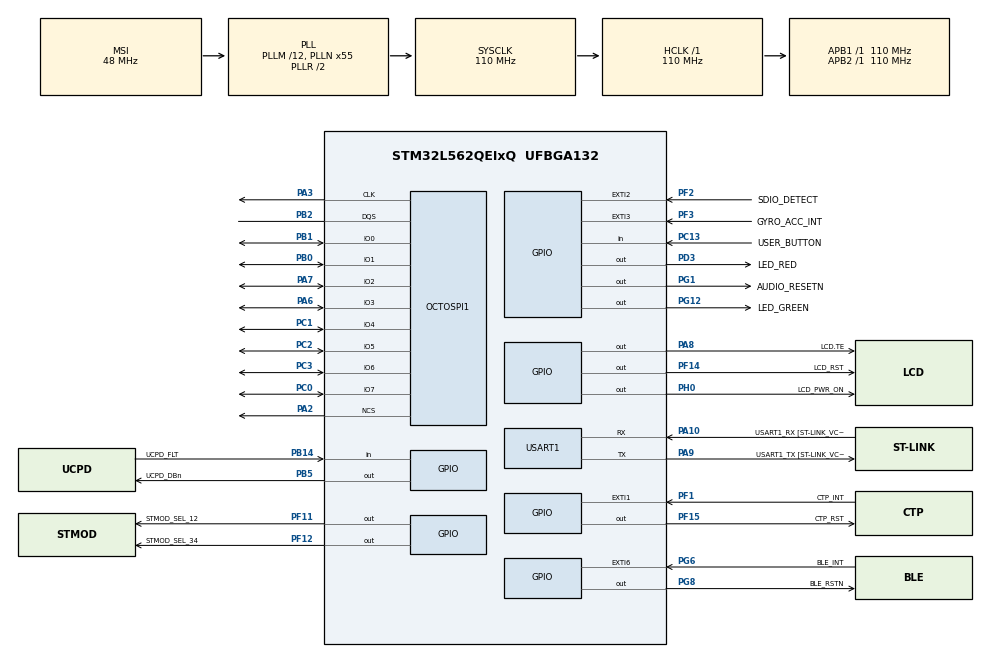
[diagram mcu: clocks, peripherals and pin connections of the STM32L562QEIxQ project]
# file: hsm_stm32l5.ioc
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Mcu.Family=STM32L5
Mcu.Name=STM32L562QEIxQ
Mcu.Package=UFBGA132
Mcu.TrustZone=disable
NVIC.PriorityGroup=NVIC_PRIORITYGROUP_3
PA10.GPIO_Label=USART1_RX [ST-LINK_VCP_TX]
PA10.Mode=Asynchronous
PA10.Signal=USART1_RX
PA11.Signal=USB_DM
PA12.Signal=USB_DP
PA13\ (JTMS/SWDIO).Mode=Trace_Asynchronous_SW
PA13\ (JTMS/SWDIO).Signal=DEBUG_JTMS-SWDIO
PA14\ (JTCK/SWCLK).Mode=Trace_Asynchronous_SW
PA14\ (JTCK/SWCLK).Signal=DEBUG_JTCK-SWCLK
PA15\ (JTDI).Signal=UCPD1_CC1
PA2.Mode=octods_mode
PA2.Signal=OCTOSPI1_NCS
PA3.Mode=octods_mode
PA3.Signal=OCTOSPI1_CLK
PA4.GPIO_Label=VBUS_SENSE
PA4.Signal=ADCx_IN9
PA6.Mode=octods_mode
PA6.Signal=OCTOSPI1_IO3
PA7.Mode=octods_mode
PA7.Signal=OCTOSPI1_IO2
PA8.GPIO_Label=LCD.TE
PA8.Signal=GPIO_Output
PA9.GPIO_Label=USART1_TX [ST-LINK_VCP_RX]
PA9.Mode=Asynchronous
PA9.Signal=USART1_TX
PB0.Mode=octods_mode
PB0.Signal=OCTOSPI1_IO1
PB1.Mode=octods_mode
PB1.Signal=OCTOSPI1_IO0
PB10.Signal=LPUART1_RX
PB11.Signal=LPUART1_TX
PB12.Signal=S_DATAIN1DFSDM1
PB14.GPIO_Label=UCPD_FLT
PB14.Signal=GPIO_Input
PB15.Signal=UCPD1_CC2
PB2.Mode=octods_mode
PB2.Signal=OCTOSPI1_DQS
PB3\ (JTDO/TRACESWO).Mode=Trace_Asynchronous_SW
PB3\ (JTDO/TRACESWO).Signal=DEBUG_JTDO-SWO
PB5.GPIO_Label=UCPD_DBn
PB5.Signal=GPIO_Output
PB6.GPIO_Pu=GPIO_PULLUP
PB6.Signal=I2C1_SCL
PB7.GPIO_Pu=GPIO_PULLUP
PB7.Signal=I2C1_SDA
PC0.Mode=octods_mode
PC0.Signal=OCTOSPI1_IO7
PC1.Mode=octods_mode
PC1.Signal=OCTOSPI1_IO4
PC10.Signal=SDMMC1_D2
PC11.Signal=SDMMC1_D3
PC12.Signal=SDMMC1_CK
PC13.GPIO_Label=USER_BUTTON
PC13.Signal=GPIO_Input
PC14-OSC32_IN\ (PC14).Mode=LSE-External-Oscillator
PC14-OSC32_IN\ (PC14).Signal=RCC_OSC32_IN
PC15-OSC32_OUT\ (PC15).Mode=LSE-External-Oscillator
PC15-OSC32_OUT\ (PC15).Signal=RCC_OSC32_OUT
PC2.Mode=octods_mode
PC2.Signal=OCTOSPI1_IO5
PC3.Mode=octods_mode
PC3.Signal=OCTOSPI1_IO6
PC8.Signal=SDMMC1_D0
PC9.Signal=SDMMC1_D1
PD0.Signal=FMC_D2_DA2
PD1.Signal=FMC_D3_DA3
PD10.Signal=FMC_D15_DA15
PD14.Signal=FMC_D0_DA0
PD15.Signal=FMC_D1_DA1
PD2.Signal=SDMMC1_CMD
PD3.GPIO_Label=LED_RED
PD3.Signal=GPIO_Output
PD4.Signal=FMC_NOE
PD5.Signal=FMC_NWE
PD7.Signal=FMC_NE1
PD8.Signal=FMC_D13_DA13
PD9.Signal=FMC_D14_DA14
PE1.GPIO_Label=LCD_BL_PWM
PE1.Signal=S_TIM17_CH1
PE10.Signal=FMC_D7_DA7
PE11.Signal=FMC_D8_DA8
PE12.Signal=FMC_D9_DA9
PE13.Signal=FMC_D10_DA10
PE14.Signal=FMC_D11_DA11
PE15.Signal=FMC_D12_DA12
PE2.Signal=SAI1_MCLK_A
PE3.Signal=SAI1_SD_B
PE4.Signal=SAI1_FS_A
PE5.Signal=SAI1_SCK_A
PE6.Signal=SAI1_SD_A
PE7.Signal=FMC_D4_DA4
PE8.Signal=FMC_D5_DA5
PE9.Signal=FMC_D6_DA6
PF0.Signal=FMC_A0
PF1.GPIO_Label=CTP_INT
PF1.Signal=GPXTI1
PF11.GPIO_Label=STMOD_SEL_12
PF11.Signal=GPIO_Output
PF12.GPIO_Label=STMOD_SEL_34
PF12.Signal=GPIO_Output
PF14.GPIO_Label=LCD_RST
PF14.Signal=GPIO_Output
PF15.GPIO_Label=CTP_RST
PF15.Signal=GPIO_Output
PF2.GPIO_Label=SDIO_DETECT
PF2.Signal=GPXTI2
PF3.GPIO_Label=GYRO_ACC_INT
PF3.Signal=GPXTI3
PG1.GPIO_Label=AUDIO_RESETN
PG1.Signal=GPIO_Output
PG12.GPIO_Label=LED_GREEN
PG12.Signal=GPIO_Output
PG2.Signal=SPI1_SCK
PG3.Signal=SPI1_MISO
PG4.Signal=SPI1_MOSI
PG5.GPIO_Label=BLE_CSN
PG5.Signal=SPI1_NSS
PG6.GPIO_Label=BLE_INT
PG6.Signal=GPXTI6
PG7.Signal=S_CKOUTDFSDM1
PG8.GPIO_Label=BLE_RSTN
PG8.Signal=GPIO_Output
PH0-OSC_IN\ (PH0).GPIO_Label=LCD_PWR_ON
PH0-OSC_IN\ (PH0).Signal=GPIO_Output
ProjectManager.HeapSize=0x200
ProjectManager.StackSize=0x400
ProjectManager.TargetToolchain=STM32CubeIDE
RCC.ADCFreq_Value=96000000
RCC.AHBFreq_Value=110000000
RCC.APB1Freq_Value=110000000
RCC.APB1TimFreq_Value=110000000
RCC.APB2Freq_Value=110000000
RCC.APB2TimFreq_Value=110000000
RCC.CK48CLockSelection=RCC_USBCLKSOURCE_MSI
RCC.CortexFreq_Value=110000000
RCC.HCLKFreq_Value=110000000
RCC.HSE_VALUE=8000000
RCC.HSI48_VALUE=48000000
RCC.HSI_VALUE=16000000
RCC.MSIClockRange=RCC_MSIRANGE_11
RCC.MSI_VALUE=48000000
RCC.PLLM=12
RCC.PLLN=55
RCC.PLLSAI1M=4
RCC.PLLSAI1N=48
RCC.PLLSAI1P=RCC_PLLP_DIV17
RCC.PLLSAI1Source=RCC_PLLSAI1SOURCE_HSI
RCC.SDMMCClockSelection=RCC_SDIOCLKSOURCE_CLK48
RCC.SYSCLKFreq_VALUE=110000000
RCC.SYSCLKSource=RCC_SYSCLKSOURCE_PLLCLK
RCC.USBFreq_Value=48000000
RCC.VCOOutputFreq_Value=220000000
SH.ADCx_IN9.0=ADC1_IN9
SH.FMC_A0.0=FMC_A0
SH.FMC_D0_DA0.0=FMC_DA0
SH.FMC_D0_DA0.1=FMC_D0
SH.FMC_D10_DA10.0=FMC_DA10
SH.FMC_D10_DA10.1=FMC_D10
SH.FMC_D11_DA11.0=FMC_DA11
SH.FMC_D11_DA11.1=FMC_D11
SH.FMC_D12_DA12.0=FMC_DA12
SH.FMC_D12_DA12.1=FMC_D12
SH.FMC_D13_DA13.0=FMC_DA13
SH.FMC_D13_DA13.1=FMC_D13
SH.FMC_D14_DA14.0=FMC_DA14
SH.FMC_D14_DA14.1=FMC_D14
SH.FMC_D15_DA15.0=FMC_DA15
SH.FMC_D15_DA15.1=FMC_D15
SH.FMC_D1_DA1.0=FMC_DA1
SH.FMC_D1_DA1.1=FMC_D1
SH.FMC_D2_DA2.0=FMC_DA2
SH.FMC_D2_DA2.1=FMC_D2
SH.FMC_D3_DA3.0=FMC_DA3
SH.FMC_D3_DA3.1=FMC_D3
SH.FMC_D4_DA4.0=FMC_DA4
SH.FMC_D4_DA4.1=FMC_D4
SH.FMC_D5_DA5.0=FMC_DA5
SH.FMC_D5_DA5.1=FMC_D5
SH.FMC_D6_DA6.0=FMC_DA6
SH.FMC_D6_DA6.1=FMC_D6
SH.FMC_D7_DA7.0=FMC_DA7
SH.FMC_D7_DA7.1=FMC_D7
SH.FMC_D8_DA8.0=FMC_DA8
SH.FMC_D8_DA8.1=FMC_D8
SH.FMC_D9_DA9.0=FMC_DA9
SH.FMC_D9_DA9.1=FMC_D9
SH.FMC_NOE.0=FMC_NOE
SH.FMC_NWE.0=FMC_NWE
SH.S_CKOUTDFSDM1.0=DFSDM1_CKOUT
SH.S_DATAIN1DFSDM1.0=DFSDM1_DATIN1
SH.S_TIM17_CH1.0=TIM17_CH1
USART1.VirtualMode-Asynchronous=VM_ASYNC
VP_ICACHE_VS_ICACHE.Mode=DirectMappedCache
VP_MBEDTLS_VS_MBEDTLS.Mode=Enabled
VP_OTFDEC1_VS_OTFDEC.Mode=OTFDEC_Activate
VP_PKA_VS_PKA.Mode=PKA_Activate
VP_PWR_VS_DBSignals.Mode=DisableDeadBatterySignals
VP_PWR_VS_SECSignals.Mode=Security/Privilege
VP_RNG_VS_RNG.Mode=RNG_Activate
VP_RTC_VS_RTC_Activate.Mode=RTC_Enabled
board=STM32L562E-DK
wolfSSL.I-CUBE-wolfSSL.5.6.6.WOLF_CONF_CHAPOLY=0
wolfSSL.I-CUBE-wolfSSL.5.6.6.WOLF_CONF_SHA2_256=1
wolfSSL.I-CUBE-wolfSSL.5.6.6.WOLF_CONF_TEST=0
wolfSSL.I-CUBE-wolfSSL.5.6.6.WOLF_CONF_TLS12=0
wolfSSL.I-CUBE-wolfSSL.5.6.6.WOLF_CONF_TLS13=0
wolfSSL.I-CUBE-wolfSSL.5.6.6.WOLF_CONF_WOLFCRYPT_ONLY=1

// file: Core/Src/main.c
/**
  ******************************************************************************
  * @file           : main.c
  * @brief          : Main program body
  ******************************************************************************
  * @attention
  *
  * Copyright (c) 2024 STMicroelectronics.
  * All rights reserved.
  *
  * This software is licensed under terms that can be found in the LICENSE file
  * in the root directory of this software component.
  * If no LICENSE file comes with this software, it is provided AS-IS.
  *
  ******************************************************************************
  */
#include "main.h"
#include "crypto_manager.h"
#include "hal_octospi_utility.h"
#include "mbedtls.h"

/* Define enum for menu options */
typedef enum {
    DUMP_MEMORY = '1',
    ENABLE_OTFDEC = '2',
    LAUNCH_APPLI = '3',
    GENERATE_AES_KEY = '4',
    AES_ENCRYPT = '5',
    AES_DECRYPT = '6',
    GENERATE_ECDSA_KEYS = '7'
} MenuOption;

#define KEY_SIZE 32 // 256-bit key size for AES-256

#define START_ADRESS_OCTOSPI1            0x90000000
#define START_ADRESS_OTFDEC1_REGION2     0x90000000
#define END_ADRESS_OTFDEC1_REGION2       0x90007FFF
#define DUMP_SIZE  8

OSPI_HandleTypeDef hospi1;

OTFDEC_HandleTypeDef hotfdec1;

PKA_HandleTypeDef hpka;

RNG_HandleTypeDef hrng;

RTC_HandleTypeDef hrtc;

UART_HandleTypeDef huart1;

/* USER CODE BEGIN PV */
OTFDEC_RegionConfigTypeDef Config = {0};
uint32_t otfdec_key[4]={0xA9876543, 0x210FEDCB, 0xA9876543, 0x210FEDCB};

unsigned char session_key[KEY_SIZE]= {0};

unsigned char test_key[KEY_SIZE] = {
    0x1a, 0x2b, 0x3c, 0x4d, 0x5e, 0x6f, 0x70, 0x81,
    0x92, 0xa3, 0xb4, 0xc5, 0xd6, 0xe7, 0xf8, 0x09,
    0x1a, 0x2b, 0x3c, 0x4d, 0x5e, 0x6f, 0x70, 0x81,
    0x92, 0xa3, 0xb4, 0xc5, 0xd6, 0xe7, 0xf8, 0x09
};

/* Ciphered instructions */
uint8_t input;
/* USER CODE END PV */

void SystemClock_Config(void);
static void MX_GPIO_Init(void);
static void MX_ICACHE_Init(void);
static void MX_USART1_UART_Init(void);
static void MX_OCTOSPI1_Init(void);
static void MX_OTFDEC1_Init(void);
static void MX_RTC_Init(void);
static void MX_RNG_Init(void);
static void MX_PKA_Init(void);

void APP_PrintMainMenu(void);
void APP_DumpMemory(void);
void APP_ActivateOTFDEC(void);
void APP_LaunchAppli(void);

void mbedtls_error_handler(int ret) {
    char error_buf[100];
    mbedtls_strerror(ret, error_buf, 100);
    printf("Error: %s\n", error_buf);
}

void APP_DumpMemory(void) {

	uint32_t *ptr = (uint32_t *)START_ADRESS_OTFDEC1_REGION2;
    printf("\r\nMemory Dump\r\n");
	for (uint8_t i=0; i<DUMP_SIZE;i++)
	{
	  printf("0x%08.8X :  %08.8X %08.8X %08.8X %08.8X\r\n",ptr ,*ptr, *(ptr+1),*(ptr+2) ,*(ptr+3) );
	  ptr=ptr+4;
	}
}

void APP_ActivateOTFDEC(void) {
	  __HAL_OTFDEC_ENABLE_IT(&hotfdec1, OTFDEC_ALL_INT);

	  /* Set OTFDEC Mode */
	  if (HAL_OTFDEC_RegionSetMode(&hotfdec1, OTFDEC_REGION2, OTFDEC_REG_MODE_INSTRUCTION_OR_DATA_ACCESSES) != HAL_OK)
	  {
	    Error_Handler();
	  }

	  /* Set OTFDEC Key */
	  if (HAL_OTFDEC_RegionSetKey(&hotfdec1, OTFDEC_REGION2, otfdec_key) != HAL_OK)
	  {
	    Error_Handler();
	   }

	  /* Configure then activate OTFDEC decryption */
	  Config.Nonce[0]     = 0x11111111;
	  Config.Nonce[1]     = 0x55555555;
	  Config.StartAddress = START_ADRESS_OTFDEC1_REGION2;
	  Config.EndAddress   = END_ADRESS_OTFDEC1_REGION2;
	  Config.Version      = 0xA5A5;
	  if (HAL_OTFDEC_RegionConfig(&hotfdec1, OTFDEC_REGION2, &Config, OTFDEC_REG_CONFIGR_LOCK_ENABLE) != HAL_OK)
	  {
	    Error_Handler();
	  }

  	  printf("   !!! OTFDEC has been activated on region : 0x%08.8X 0x%08.8X\r\n\n",START_ADRESS_OTFDEC1_REGION2,END_ADRESS_OTFDEC1_REGION2);

}

void APP_LaunchAppli(void)
{
    typedef  void (*pFunction)(void);

    pFunction JumpToApplication;
    uint32_t JumpAddress;

    JumpAddress = *(__IO uint32_t*) (START_ADRESS_OTFDEC1_REGION2 + 4);
    if (( JumpAddress >= START_ADRESS_OTFDEC1_REGION2 ) && (JumpAddress < END_ADRESS_OTFDEC1_REGION2 ))
		{
			JumpToApplication = (pFunction) JumpAddress;
			JumpToApplication();
		}
    else
    {
  	  printf("   !!! Error no application at 0x%08.8X  !!!\r\n\n",START_ADRESS_OTFDEC1_REGION2);

    }
}

int __io_putchar(int ch)
{
  /* Place your implementation of fputc here */
  /* e.g. write a character to the USART1 and Loop until the end of transmission */
  HAL_UART_Transmit(&huart1, (uint8_t *)&ch, 1, 0xFFFF);

  return ch;
}

int main(void)
{
  /* MCU Configuration--------------------------------------------------------*/

  /* Reset of all peripherals, Initializes the Flash interface and the Systick. */
  HAL_Init();
  /* Configure the system clock */
  SystemClock_Config();

  /* Initialize all configured peripherals */
  MX_GPIO_Init();
  MX_ICACHE_Init();
  MX_USART1_UART_Init();
  MX_OCTOSPI1_Init();
  MX_OTFDEC1_Init();
  MX_RTC_Init();
  MX_MBEDTLS_Init();
  MX_RNG_Init();
  MX_PKA_Init();
  OSPI_Config() ;
  OSPI_MemoryMap();

  /* End of MCU Configuration--------------------------------------------------*/

  int ret;
  unsigned char iv[16] = {0}; // IV for AES-CBC is 16
  unsigned char iv1[16] = {0};
  const char *plain_text = "This is a test text";
  unsigned char encrypted_text[256] = {0};
  unsigned char decrypted_text[256] = {0};
  size_t ciphertext_len =0;
  size_t plain_text_len = strlen(plain_text);

  crypto_manager_init();

  printf("\r\n***********************************************************\r\n");
  printf("\r\n*             ERNI Hardware Secure Module                 *\r\n");
  printf("\r\n***********************************************************\r\n");
  APP_PrintMainMenu();

  /* Infinite loop */
  while (1)
  {
	  __HAL_UART_FLUSH_DRREGISTER(&huart1);
	  if ( HAL_OK== HAL_UART_Receive(&huart1, (uint8_t *)&input, 1, 2000))
      {
		  switch (input) {
		  case DUMP_MEMORY:
			  APP_DumpMemory();
			  break;
		  case ENABLE_OTFDEC:
			  APP_ActivateOTFDEC();
			  break;
		  case LAUNCH_APPLI:
			  APP_LaunchAppli();
			  break;
		  case GENERATE_AES_KEY:
			  if (aes_generate_key(session_key, AES_KEY_SIZE)) {
				  printf("Failed to generate random key\n");
				  return 1;
			  }

			  printf("AES Key: ");
			  for (size_t i = 0; i < AES_KEY_SIZE; i++) {
				//Print in HEX
				printf("%02X", session_key[i]);
			  }
			  printf("\n");

			  break;
		  case AES_ENCRYPT:
			  uint8_t buffer[256] = ""; // Max lenght 256 bytes
			  size_t message_len = 0;

			  // Read the rest of the message
			  while (message_len < sizeof(buffer) - 1) // -1 for null termination
			  {
				  if (HAL_OK == HAL_UART_Receive(&huart1, &buffer[message_len], 1, 2000))
				  {
					  if (buffer[message_len] == '\n' || buffer[message_len] == '\r')
					  {
						  // End of message reached
						  break;
					  }
					  message_len++;
				  }
			  }

			  buffer[message_len] = '\0';

			  if (aes_encrypt(buffer, message_len, session_key, iv, encrypted_text, &ciphertext_len)) {
				  printf("Encryption failed\n");
				  return 1;
			  }

			  print_base64_encoded_message(encrypted_text, ciphertext_len);

			  /*if (aes_decrypt(encrypted_text, ciphertext_len, session_key, iv1, decrypted_text)) {
			      printf("Decryption failed\n");
			      return 1;
			  }
			  printf("Decripted message: %s\n", decrypted_text);*/
			  break;

		  case AES_DECRYPT:
		      // Decrypt the encrypted message
		      if (aes_decrypt(encrypted_text, ciphertext_len, session_key, iv1, decrypted_text)) {
		          printf("Decryption failed\n");
		          return 1;
		      }
		      printf("Decrypted Message: %s\n", decrypted_text);
		      break;

		  case GENERATE_ECDSA_KEYS:
		      break;
		  }
      }

  }
}

void SystemClock_Config(void)
{
  RCC_OscInitTypeDef RCC_OscInitStruct = {0};
  RCC_ClkInitTypeDef RCC_ClkInitStruct = {0};

  /** Configure the main internal regulator output voltage
  */
  if (HAL_PWREx_ControlVoltageScaling(PWR_REGULATOR_VOLTAGE_SCALE0) != HAL_OK)
  {
    Error_Handler();
  }

  /** Initializes the RCC Oscillators according to the specified parameters
  * in the RCC_OscInitTypeDef structure.
  */
  RCC_OscInitStruct.OscillatorType = RCC_OSCILLATORTYPE_LSI|RCC_OSCILLATORTYPE_MSI;
  RCC_OscInitStruct.LSIDiv = RCC_LSI_DIV1;
  RCC_OscInitStruct.LSIState = RCC_LSI_ON;
  RCC_OscInitStruct.MSIState = RCC_MSI_ON;
  RCC_OscInitStruct.MSICalibrationValue = RCC_MSICALIBRATION_DEFAULT;
  RCC_OscInitStruct.MSIClockRange = RCC_MSIRANGE_11;
  RCC_OscInitStruct.PLL.PLLState = RCC_PLL_ON;
  RCC_OscInitStruct.PLL.PLLSource = RCC_PLLSOURCE_MSI;
  RCC_OscInitStruct.PLL.PLLM = 12;
  RCC_OscInitStruct.PLL.PLLN = 55;
  RCC_OscInitStruct.PLL.PLLP = RCC_PLLP_DIV7;
  RCC_OscInitStruct.PLL.PLLQ = RCC_PLLQ_DIV2;
  RCC_OscInitStruct.PLL.PLLR = RCC_PLLR_DIV2;
  if (HAL_RCC_OscConfig(&RCC_OscInitStruct) != HAL_OK)
  {
    Error_Handler();
  }

  /** Initializes the CPU, AHB and APB buses clocks
  */
  RCC_ClkInitStruct.ClockType = RCC_CLOCKTYPE_HCLK|RCC_CLOCKTYPE_SYSCLK
                              |RCC_CLOCKTYPE_PCLK1|RCC_CLOCKTYPE_PCLK2;
  RCC_ClkInitStruct.SYSCLKSource = RCC_SYSCLKSOURCE_PLLCLK;
  RCC_ClkInitStruct.AHBCLKDivider = RCC_SYSCLK_DIV1;
  RCC_ClkInitStruct.APB1CLKDivider = RCC_HCLK_DIV1;
  RCC_ClkInitStruct.APB2CLKDivider = RCC_HCLK_DIV1;

  if (HAL_RCC_ClockConfig(&RCC_ClkInitStruct, FLASH_LATENCY_5) != HAL_OK)
  {
    Error_Handler();
  }
}

static void MX_ICACHE_Init(void)
{

  /** Enable instruction cache in 1-way (direct mapped cache)
  */
  if (HAL_ICACHE_ConfigAssociativityMode(ICACHE_1WAY) != HAL_OK)
  {
    Error_Handler();
  }
  if (HAL_ICACHE_Enable() != HAL_OK)
  {
    Error_Handler();
  }

}

static void MX_OCTOSPI1_Init(void)
{

  /* OCTOSPI1 parameter configuration*/
  hospi1.Instance = OCTOSPI1;
  hospi1.Init.FifoThreshold = 4;
  hospi1.Init.DualQuad = HAL_OSPI_DUALQUAD_DISABLE;
  hospi1.Init.MemoryType = HAL_OSPI_MEMTYPE_MACRONIX;
  hospi1.Init.DeviceSize = 26;
  hospi1.Init.ChipSelectHighTime = 2;
  hospi1.Init.FreeRunningClock = HAL_OSPI_FREERUNCLK_DISABLE;
  hospi1.Init.ClockMode = HAL_OSPI_CLOCK_MODE_0;
  hospi1.Init.WrapSize = HAL_OSPI_WRAP_NOT_SUPPORTED;
  hospi1.Init.ClockPrescaler = 2;
  hospi1.Init.SampleShifting = HAL_OSPI_SAMPLE_SHIFTING_NONE;
  hospi1.Init.DelayHoldQuarterCycle = HAL_OSPI_DHQC_ENABLE;
  hospi1.Init.ChipSelectBoundary = 0;
  hospi1.Init.DelayBlockBypass = HAL_OSPI_DELAY_BLOCK_USED;
  hospi1.Init.Refresh = 0;
  if (HAL_OSPI_Init(&hospi1) != HAL_OK)
  {
    Error_Handler();
  }

}
static void MX_OTFDEC1_Init(void)
{

  hotfdec1.Instance = OTFDEC1;
  if (HAL_OTFDEC_Init(&hotfdec1) != HAL_OK)
  {
    Error_Handler();
  }

}

static void MX_PKA_Init(void)
{

  hpka.Instance = PKA;
  if (HAL_PKA_Init(&hpka) != HAL_OK)
  {
    Error_Handler();
  }

}

static void MX_RNG_Init(void)
{
  hrng.Instance = RNG;
  hrng.Init.ClockErrorDetection = RNG_CED_ENABLE;
  if (HAL_RNG_Init(&hrng) != HAL_OK)
  {
    Error_Handler();
  }
}

static void MX_RTC_Init(void)
{

  RTC_PrivilegeStateTypeDef privilegeState = {0};

  /** Initialize RTC Only
  */
  hrtc.Instance = RTC;
  hrtc.Init.HourFormat = RTC_HOURFORMAT_24;
  hrtc.Init.AsynchPrediv = 127;
  hrtc.Init.SynchPrediv = 255;
  hrtc.Init.OutPut = RTC_OUTPUT_DISABLE;
  hrtc.Init.OutPutRemap = RTC_OUTPUT_REMAP_NONE;
  hrtc.Init.OutPutPolarity = RTC_OUTPUT_POLARITY_HIGH;
  hrtc.Init.OutPutType = RTC_OUTPUT_TYPE_OPENDRAIN;
  hrtc.Init.OutPutPullUp = RTC_OUTPUT_PULLUP_NONE;
  if (HAL_RTC_Init(&hrtc) != HAL_OK)
  {
    Error_Handler();
  }
  privilegeState.rtcPrivilegeFull = RTC_PRIVILEGE_FULL_NO;
  privilegeState.backupRegisterPrivZone = RTC_PRIVILEGE_BKUP_ZONE_NONE;
  privilegeState.backupRegisterStartZone2 = RTC_BKP_DR0;
  privilegeState.backupRegisterStartZone3 = RTC_BKP_DR0;
  if (HAL_RTCEx_PrivilegeModeSet(&hrtc, &privilegeState) != HAL_OK)
  {
    Error_Handler();
  }

}

static void MX_USART1_UART_Init(void)
{
  huart1.Instance = USART1;
  huart1.Init.BaudRate = 115200;
  huart1.Init.WordLength = UART_WORDLENGTH_8B;
  huart1.Init.StopBits = UART_STOPBITS_1;
  huart1.Init.Parity = UART_PARITY_NONE;
  huart1.Init.Mode = UART_MODE_TX_RX;
  huart1.Init.HwFlowCtl = UART_HWCONTROL_NONE;
  huart1.Init.OverSampling = UART_OVERSAMPLING_16;
  huart1.Init.OneBitSampling = UART_ONE_BIT_SAMPLE_DISABLE;
  huart1.Init.ClockPrescaler = UART_PRESCALER_DIV1;
  huart1.AdvancedInit.AdvFeatureInit = UART_ADVFEATURE_NO_INIT;

  if (HAL_UART_Init(&huart1) != HAL_OK)
  {
    Error_Handler();
  }
  if (HAL_UARTEx_SetTxFifoThreshold(&huart1, UART_TXFIFO_THRESHOLD_1_8) != HAL_OK)
  {
    Error_Handler();
  }
  if (HAL_UARTEx_SetRxFifoThreshold(&huart1, UART_RXFIFO_THRESHOLD_1_8) != HAL_OK)
  {
    Error_Handler();
  }
  if (HAL_UARTEx_DisableFifoMode(&huart1) != HAL_OK)
  {
    Error_Handler();
  }
}

static void MX_GPIO_Init(void)
{
  GPIO_InitTypeDef GPIO_InitStruct = {0};

  /* GPIO Ports Clock Enable */
  __HAL_RCC_GPIOE_CLK_ENABLE();
  __HAL_RCC_GPIOB_CLK_ENABLE();
  __HAL_RCC_GPIOG_CLK_ENABLE();
  HAL_PWREx_EnableVddIO2();
  __HAL_RCC_GPIOD_CLK_ENABLE();
  __HAL_RCC_GPIOC_CLK_ENABLE();
  __HAL_RCC_GPIOA_CLK_ENABLE();
  __HAL_RCC_GPIOF_CLK_ENABLE();
  __HAL_RCC_GPIOH_CLK_ENABLE();

  /*Configure GPIO pin Output Level */
  HAL_GPIO_WritePin(GPIOG, LED_GREEN_Pin|BLE_RSTN_Pin|AUDIO_RESETN_Pin, GPIO_PIN_RESET);

  /*Configure GPIO pin Output Level */
  HAL_GPIO_WritePin(LED_RED_GPIO_Port, LED_RED_Pin, GPIO_PIN_RESET);

  /*Configure GPIO pin Output Level */
  HAL_GPIO_WritePin(UCPD_DBn_GPIO_Port, UCPD_DBn_Pin, GPIO_PIN_RESET);

  /*Configure GPIO pin Output Level */
  HAL_GPIO_WritePin(LCD_TE_GPIO_Port, LCD_TE_Pin, GPIO_PIN_RESET);

  /*Configure GPIO pin Output Level */
  HAL_GPIO_WritePin(LCD_PWR_ON_GPIO_Port, LCD_PWR_ON_Pin, GPIO_PIN_RESET);

  /*Configure GPIO pin Output Level */
  HAL_GPIO_WritePin(GPIOF, LCD_RST_Pin|STMOD_SEL_12_Pin|STMOD_SEL_34_Pin|CTP_RST_Pin, GPIO_PIN_RESET);

  /*Configure GPIO pins : PE5 PE3 PE4 PE2
                           PE6 */
  GPIO_InitStruct.Pin = GPIO_PIN_5|GPIO_PIN_3|GPIO_PIN_4|GPIO_PIN_2
                          |GPIO_PIN_6;
  GPIO_InitStruct.Mode = GPIO_MODE_AF_PP;
  GPIO_InitStruct.Pull = GPIO_NOPULL;
  GPIO_InitStruct.Speed = GPIO_SPEED_FREQ_LOW;
  GPIO_InitStruct.Alternate = GPIO_AF13_SAI1;
  HAL_GPIO_Init(GPIOE, &GPIO_InitStruct);

  /*Configure GPIO pin : LCD_BL_PWM_Pin */
  GPIO_InitStruct.Pin = LCD_BL_PWM_Pin;
  GPIO_InitStruct.Mode = GPIO_MODE_AF_PP;
  GPIO_InitStruct.Pull = GPIO_NOPULL;
  GPIO_InitStruct.Speed = GPIO_SPEED_FREQ_LOW;
  GPIO_InitStruct.Alternate = GPIO_AF14_TIM17;
  HAL_GPIO_Init(LCD_BL_PWM_GPIO_Port, &GPIO_InitStruct);

  /*Configure GPIO pins : PB6 PB7 */
  GPIO_InitStruct.Pin = GPIO_PIN_6|GPIO_PIN_7;
  GPIO_InitStruct.Mode = GPIO_MODE_AF_OD;
  GPIO_InitStruct.Pull = GPIO_PULLUP;
  GPIO_InitStruct.Speed = GPIO_SPEED_FREQ_LOW;
  GPIO_InitStruct.Alternate = GPIO_AF4_I2C1;
  HAL_GPIO_Init(GPIOB, &GPIO_InitStruct);

  /*Configure GPIO pins : LED_GREEN_Pin BLE_RSTN_Pin AUDIO_RESETN_Pin */
  GPIO_InitStruct.Pin = LED_GREEN_Pin|BLE_RSTN_Pin|AUDIO_RESETN_Pin;
  GPIO_InitStruct.Mode = GPIO_MODE_OUTPUT_PP;
  GPIO_InitStruct.Pull = GPIO_NOPULL;
  GPIO_InitStruct.Speed = GPIO_SPEED_FREQ_LOW;
  HAL_GPIO_Init(GPIOG, &GPIO_InitStruct);

  /*Configure GPIO pins : PD5 PD4 PD1 PD0
                           PD7 PD14 PD15 PD9
                           PD8 PD10 */
  GPIO_InitStruct.Pin = GPIO_PIN_5|GPIO_PIN_4|GPIO_PIN_1|GPIO_PIN_0
                          |GPIO_PIN_7|GPIO_PIN_14|GPIO_PIN_15|GPIO_PIN_9
                          |GPIO_PIN_8|GPIO_PIN_10;
  GPIO_InitStruct.Mode = GPIO_MODE_AF_PP;
  GPIO_InitStruct.Pull = GPIO_NOPULL;
  GPIO_InitStruct.Speed = GPIO_SPEED_FREQ_VERY_HIGH;
  GPIO_InitStruct.Alternate = GPIO_AF12_FMC;
  HAL_GPIO_Init(GPIOD, &GPIO_InitStruct);

  /*Configure GPIO pin : PD2 */
  GPIO_InitStruct.Pin = GPIO_PIN_2;
  GPIO_InitStruct.Mode = GPIO_MODE_AF_PP;
  GPIO_InitStruct.Pull = GPIO_NOPULL;
  GPIO_InitStruct.Speed = GPIO_SPEED_FREQ_VERY_HIGH;
  GPIO_InitStruct.Alternate = GPIO_AF12_SDMMC1;
  HAL_GPIO_Init(GPIOD, &GPIO_InitStruct);

  /*Configure GPIO pins : PC11 PC12 PC10 PC9
                           PC8 */
  GPIO_InitStruct.Pin = GPIO_PIN_11|GPIO_PIN_12|GPIO_PIN_10|GPIO_PIN_9
                          |GPIO_PIN_8;
  GPIO_InitStruct.Mode = GPIO_MODE_AF_PP;
  GPIO_InitStruct.Pull = GPIO_NOPULL;
  GPIO_InitStruct.Speed = GPIO_SPEED_FREQ_VERY_HIGH;
  GPIO_InitStruct.Alternate = GPIO_AF12_SDMMC1;
  HAL_GPIO_Init(GPIOC, &GPIO_InitStruct);

  /*Configure GPIO pins : PA15 VBUS_SENSE_Pin */
  GPIO_InitStruct.Pin = GPIO_PIN_15|VBUS_SENSE_Pin;
  GPIO_InitStruct.Mode = GPIO_MODE_ANALOG;
  GPIO_InitStruct.Pull = GPIO_NOPULL;
  HAL_GPIO_Init(GPIOA, &GPIO_InitStruct);

  /*Configure GPIO pins : PA12 PA11 */
  GPIO_InitStruct.Pin = GPIO_PIN_12|GPIO_PIN_11;
  GPIO_InitStruct.Mode = GPIO_MODE_AF_PP;
  GPIO_InitStruct.Pull = GPIO_NOPULL;
  GPIO_InitStruct.Speed = GPIO_SPEED_FREQ_LOW;
  GPIO_InitStruct.Alternate = GPIO_AF10_USB;
  HAL_GPIO_Init(GPIOA, &GPIO_InitStruct);

  /*Configure GPIO pin : USER_BUTTON_Pin */
  GPIO_InitStruct.Pin = USER_BUTTON_Pin;
  GPIO_InitStruct.Mode = GPIO_MODE_INPUT;
  GPIO_InitStruct.Pull = GPIO_NOPULL;
  HAL_GPIO_Init(USER_BUTTON_GPIO_Port, &GPIO_InitStruct);

  /*Configure GPIO pin : LED_RED_Pin */
  GPIO_InitStruct.Pin = LED_RED_Pin;
  GPIO_InitStruct.Mode = GPIO_MODE_OUTPUT_PP;
  GPIO_InitStruct.Pull = GPIO_NOPULL;
  GPIO_InitStruct.Speed = GPIO_SPEED_FREQ_LOW;
  HAL_GPIO_Init(LED_RED_GPIO_Port, &GPIO_InitStruct);

  /*Configure GPIO pin : PF0 */
  GPIO_InitStruct.Pin = GPIO_PIN_0;
  GPIO_InitStruct.Mode = GPIO_MODE_AF_PP;
  GPIO_InitStruct.Pull = GPIO_NOPULL;
  GPIO_InitStruct.Speed = GPIO_SPEED_FREQ_VERY_HIGH;
  GPIO_InitStruct.Alternate = GPIO_AF12_FMC;
  HAL_GPIO_Init(GPIOF, &GPIO_InitStruct);

  /*Configure GPIO pins : GYRO_ACC_INT_Pin SDIO_DETECT_Pin CTP_INT_Pin */
  GPIO_InitStruct.Pin = GYRO_ACC_INT_Pin|SDIO_DETECT_Pin|CTP_INT_Pin;
  GPIO_InitStruct.Mode = GPIO_MODE_IT_RISING;
  GPIO_InitStruct.Pull = GPIO_NOPULL;
  HAL_GPIO_Init(GPIOF, &GPIO_InitStruct);

  /*Configure GPIO pin : UCPD_DBn_Pin */
  GPIO_InitStruct.Pin = UCPD_DBn_Pin;
  GPIO_InitStruct.Mode = GPIO_MODE_OUTPUT_PP;
  GPIO_InitStruct.Pull = GPIO_NOPULL;
  GPIO_InitStruct.Speed = GPIO_SPEED_FREQ_LOW;
  HAL_GPIO_Init(UCPD_DBn_GPIO_Port, &GPIO_InitStruct);

  /*Configure GPIO pin : LCD_TE_Pin */
  GPIO_InitStruct.Pin = LCD_TE_Pin;
  GPIO_InitStruct.Mode = GPIO_MODE_OUTPUT_PP;
  GPIO_InitStruct.Pull = GPIO_NOPULL;
  GPIO_InitStruct.Speed = GPIO_SPEED_FREQ_LOW;
  HAL_GPIO_Init(LCD_TE_GPIO_Port, &GPIO_InitStruct);

  /*Configure GPIO pin : LCD_PWR_ON_Pin */
  GPIO_InitStruct.Pin = LCD_PWR_ON_Pin;
  GPIO_InitStruct.Mode = GPIO_MODE_OUTPUT_PP;
  GPIO_InitStruct.Pull = GPIO_NOPULL;
  GPIO_InitStruct.Speed = GPIO_SPEED_FREQ_LOW;
  HAL_GPIO_Init(LCD_PWR_ON_GPIO_Port, &GPIO_InitStruct);

  /*Configure GPIO pin : BLE_INT_Pin */
  GPIO_InitStruct.Pin = BLE_INT_Pin;
  GPIO_InitStruct.Mode = GPIO_MODE_IT_RISING;
  GPIO_InitStruct.Pull = GPIO_NOPULL;
  HAL_GPIO_Init(BLE_INT_GPIO_Port, &GPIO_InitStruct);

  /*Configure GPIO pin : PG7 */
  GPIO_InitStruct.Pin = GPIO_PIN_7;
  GPIO_InitStruct.Mode = GPIO_MODE_AF_PP;
  GPIO_InitStruct.Pull = GPIO_NOPULL;
  GPIO_InitStruct.Speed = GPIO_SPEED_FREQ_LOW;
  GPIO_InitStruct.Alternate = GPIO_AF6_DFSDM1;
  HAL_GPIO_Init(GPIOG, &GPIO_InitStruct);

  /*Configure GPIO pins : PG4 PG2 PG3 BLE_CSN_Pin */
  GPIO_InitStruct.Pin = GPIO_PIN_4|GPIO_PIN_2|GPIO_PIN_3|BLE_CSN_Pin;
  GPIO_InitStruct.Mode = GPIO_MODE_AF_PP;
  GPIO_InitStruct.Pull = GPIO_NOPULL;
  GPIO_InitStruct.Speed = GPIO_SPEED_FREQ_LOW;
  GPIO_InitStruct.Alternate = GPIO_AF5_SPI1;
  HAL_GPIO_Init(GPIOG, &GPIO_InitStruct);

  /*Configure GPIO pins : LCD_RST_Pin STMOD_SEL_12_Pin STMOD_SEL_34_Pin CTP_RST_Pin */
  GPIO_InitStruct.Pin = LCD_RST_Pin|STMOD_SEL_12_Pin|STMOD_SEL_34_Pin|CTP_RST_Pin;
  GPIO_InitStruct.Mode = GPIO_MODE_OUTPUT_PP;
  GPIO_InitStruct.Pull = GPIO_NOPULL;
  GPIO_InitStruct.Speed = GPIO_SPEED_FREQ_LOW;
  HAL_GPIO_Init(GPIOF, &GPIO_InitStruct);

  /*Configure GPIO pins : PE8 PE10 PE12 PE7
                           PE14 PE11 PE15 PE9
                           PE13 */
  GPIO_InitStruct.Pin = GPIO_PIN_8|GPIO_PIN_10|GPIO_PIN_12|GPIO_PIN_7
                          |GPIO_PIN_14|GPIO_PIN_11|GPIO_PIN_15|GPIO_PIN_9
                          |GPIO_PIN_13;
  GPIO_InitStruct.Mode = GPIO_MODE_AF_PP;
  GPIO_InitStruct.Pull = GPIO_NOPULL;
  GPIO_InitStruct.Speed = GPIO_SPEED_FREQ_VERY_HIGH;
  GPIO_InitStruct.Alternate = GPIO_AF12_FMC;
  HAL_GPIO_Init(GPIOE, &GPIO_InitStruct);

  /*Configure GPIO pins : PB10 PB11 */
  GPIO_InitStruct.Pin = GPIO_PIN_10|GPIO_PIN_11;
  GPIO_InitStruct.Mode = GPIO_MODE_AF_PP;
  GPIO_InitStruct.Pull = GPIO_NOPULL;
  GPIO_InitStruct.Speed = GPIO_SPEED_FREQ_LOW;
  GPIO_InitStruct.Alternate = GPIO_AF8_LPUART1;
  HAL_GPIO_Init(GPIOB, &GPIO_InitStruct);

  /*Configure GPIO pin : UCPD_FLT_Pin */
  GPIO_InitStruct.Pin = UCPD_FLT_Pin;
  GPIO_InitStruct.Mode = GPIO_MODE_INPUT;
  GPIO_InitStruct.Pull = GPIO_NOPULL;
  HAL_GPIO_Init(UCPD_FLT_GPIO_Port, &GPIO_InitStruct);

  /*Configure GPIO pin : PB15 */
  GPIO_InitStruct.Pin = GPIO_PIN_15;
  GPIO_InitStruct.Mode = GPIO_MODE_ANALOG;
  GPIO_InitStruct.Pull = GPIO_NOPULL;
  HAL_GPIO_Init(GPIOB, &GPIO_InitStruct);

  /*Configure GPIO pin : PB12 */
  GPIO_InitStruct.Pin = GPIO_PIN_12;
  GPIO_InitStruct.Mode = GPIO_MODE_AF_PP;
  GPIO_InitStruct.Pull = GPIO_NOPULL;
  GPIO_InitStruct.Speed = GPIO_SPEED_FREQ_LOW;
  GPIO_InitStruct.Alternate = GPIO_AF6_DFSDM1;
  HAL_GPIO_Init(GPIOB, &GPIO_InitStruct);

}

/* USER CODE BEGIN 4 */
void APP_PrintMainMenu(void)
{
	  printf("\r\n=================== HSM Commands ===========================\r\n\n");
	  printf("  Dump data from external Memory (0x%08.8X) ------------1\r\n\n",START_ADRESS_OTFDEC1_REGION2);
	  printf("  Enable OTFDEC ----------------------------------------- 2\r\n\n");
	  printf("  Launch binary at  0x%08.8X -------------------------- 3\r\n\n",START_ADRESS_OTFDEC1_REGION2);
	  printf("  Generate session key using AES-CBC--------------------- 4\r\n\n");
	  printf("  Encrypt message using session key --------------------- 5\r\n\n");
	  printf("  Decrypt message using session key --------------------- 6\r\n\n");
	  printf("  Generate ECDSA key pair -------------------------------- 7\r\n\n");
	  printf("  Selection :\r\n\n");
}
/* USER CODE END 4 */

void Error_Handler(void)
{
  __disable_irq();
  while (1)
  {
  }
}
